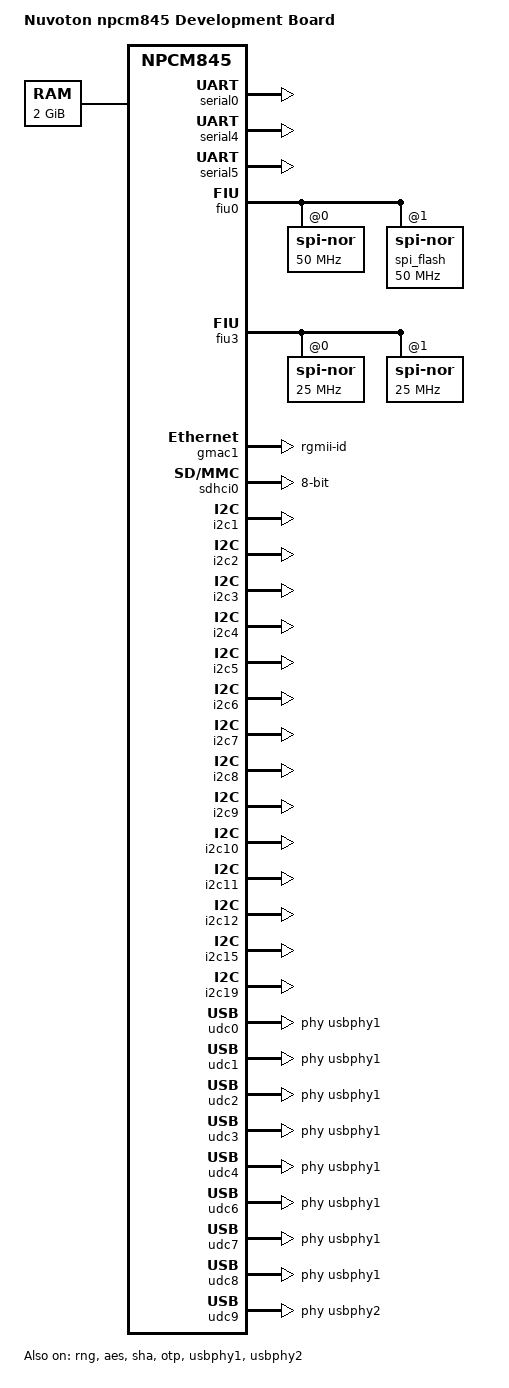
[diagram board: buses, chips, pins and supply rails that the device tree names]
// SPDX-License-Identifier: GPL-2.0
/dts-v1/;

/* TCG2 Logs */
/memreserve/ 0x35F00000 0x00010000;

#include "nuvoton-npcm845.dtsi"
#include "nuvoton-npcm845-scm-pincfg.dtsi"

/ {
	model = "Nuvoton npcm845 Development Board";
	compatible = "nuvoton,npcm845";

	aliases {
		serial0 = &serial0;
		serial1 = &serial4;
		serial2 = &serial5;
		ethernet0 = &gmac1;
		spi0 = &fiu0;
		spi3 = &fiu3;
		usb0 = &udc0;
		i2c1 = &i2c1;
		i2c2 = &i2c2;
		i2c3 = &i2c3;
		i2c4 = &i2c4;
		i2c5 = &i2c5;
		i2c6 = &i2c6;
		i2c7 = &i2c7;
		i2c8 = &i2c8;
		i2c9 = &i2c9;
		i2c10 = &i2c10;
		i2c11 = &i2c11;
		i2c12 = &i2c12;
		i2c15 = &i2c15;
		i2c19 = &i2c19;

	};

	chosen {
		stdout-path = &serial0;
	};

	memory {
		reg = <0x0 0x0 0x0 0x80000000>;
	};

	vsbv8: vsbv8 {
		compatible = "regulator-npcm845";
		regulator-name = "v8";
		regulator-min-microvolt = <1800000>;
		regulator-max-microvolt = <3300000>;
		regulator-always-on;
	};

	tpm@0 {
		compatible = "microsoft,ftpm";
	};

	firmware {
		optee {
			 compatible = "linaro,optee-tz";
			 method = "smc";
		};
	};
};

&serial0 {
	status = "okay";
	assigned-clocks = <&clk NPCM8XX_CLK_UART>,
			  <&clk NPCM8XX_CLK_UART2>;
	assigned-clock-parents = <&clk NPCM8XX_CLK_PLL2DIV2>;
	assigned-clock-rates = <24000000>, <24000000>;
};

&serial4 {
	status = "okay";
	clock-frequency = <24000000>;
};

&serial5 {
	status = "okay";
	clock-frequency = <24000000>;
};

&fiu0 {
	status = "okay";
	pinctrl-names = "default";
	pinctrl-0 = <&spi0cs1_pins>;
	spi-nor@0 {
		compatible = "jedec,spi-nor";
		reg = <0>;
		spi-max-frequency = <50000000>;
	};
	spi_flash@1 {
		compatible = "jedec,spi-nor";
		reg = <1>;
		spi-max-frequency = <50000000>;
	};
};

&fiu3 {
	pinctrl-0 = <&spi3_pins>, <&spi3quad_pins>, <&spi3cs1_pins>;
	status = "okay";
	spi-nor@0 {
		compatible = "jedec,spi-nor";
		reg = <0>;
		spi-max-frequency = <25000000>;
	};
	spi-nor@1 {
		compatible = "jedec,spi-nor";
		reg = <1>;
		spi-max-frequency = <25000000>;
	};
};

&gmac1 {
	phy-mode = "rgmii-id";
	status = "okay";
};

&sdhci0 {
	index = <0x0>;
	bus-width = <0x8>;
	clocks = <&clk NPCM8XX_CLK_SDHC>;
	clock-frequency = <50000000>;
	vqmmc-supply = <&vsbv8>;
	vqmmc-microvolt = <1800000>;
	status = "okay";
};

&rng {
	status = "okay";
};

&aes {
	status = "okay";
};

&sha {
	status = "okay";
};

&otp {
	status = "okay";
};

&i2c1 {
	status = "okay";
};

&i2c2 {
	status = "okay";
};

&i2c3 {
	status = "okay";
};

&i2c4 {
	status = "okay";
};

&i2c5 {
	status = "okay";
};

&i2c6 {
	status = "okay";
};

&i2c7 {
	status = "okay";
};

&i2c8 {
	status = "okay";
};

&i2c9 {
	status = "okay";
};

&i2c10 {
	status = "okay";
};

&i2c11 {
	status = "okay";
};

&i2c12 {
	status = "okay";
};

&i2c15 {
	status = "okay";
};

&i2c19 {
	status = "okay";
};

&usbphy1 {
	status = "okay";
};

&usbphy2 {
	status = "okay";
};

&udc0 {
	status = "okay";
	phys = <&usbphy1 0>;
};

&udc1 {
	status = "okay";
	phys = <&usbphy1 0>;
};

&udc2 {
	status = "okay";
	phys = <&usbphy1 0>;
};

&udc3 {
	status = "okay";
	phys = <&usbphy1 0>;
};

&udc4 {
	status = "okay";
	phys = <&usbphy1 0>;
};

&udc6 {
	status = "okay";
	phys = <&usbphy1 0>;
};

&udc7 {
	status = "okay";
	phys = <&usbphy1 0>;
};

&udc8 {
	status = "okay";
	phys = <&usbphy1 0>;
};

&udc9 {
	status = "okay";
	phys = <&usbphy2 2>;
};

&host_intf {
	type = "espi";
	ioaddr = <0x2e>;
	channel-support = <0xf>;
};

&pinctrl {
        pinctrl-names = "default";
        pinctrl-0 = <
			&fm0cso_slew
			&fm0_pins
			&bu4_pins
			&bu5_pins
			&gspi_pins
			&vgadig_pins
			&gpio8oh_pins
			&gpio9ol_pins
			&gpio16i_pins
			&gpio22oh_pins
			&gpio23i_pins
			&gpi35_pins
			&gpi36_pins
			&gpio39i_pins
			&gpio40ol_pins
			&gpio43oh_pins
			&gpio44ol_pins
			&gpio45ol_pins
			&gpio46oh_pins
			&gpio58oh_pins
			&gpio61i_pins
			&gpio62oh_pins
			&gpio63oh_pins
			&gpio64i_pins
			&gpio65i_pins
			&gpio66i_pins
			&gpio67i_pins
			&gpio68i_pins
			&gpio69i_pins
			&gpio71oh_pins
			&gpio72i_pins
			&gpio73oh_pins
			&gpio74i_pins
			&gpio75i_pins
			&gpio76ol_pins
			&gpio77i_pins
			&gpio78oh_pins
			&gpio79oh_pins
			&gpio80oh_pins
			&gpio81oh_pins
			&gpio82oh_pins
			&gpio83oh_pins
			&gpio84i_pins
			&gpio85i_pins
			&gpio86oh_pins
			&gpio87i_pins
			&gpio88i_pins
			&gpio90i_pins
			&gpio93oh_pins
			&gpio94ol_pins
			&gpio96i_pins
			&gpio97i_pins
			&gpio99i_pins
			&gpio100i_pins
			&gpio101i_pins
			&gpio114oh_pins
			&gpio115ol_pins
			&gpio120i_pins
			&gpio121ol_pins
			&gpio122oh_pins
			&gpio123i_pins
			&gpio124oh_pins
			&gpio125ol_pins
			&gpio126i_pins
			&gpio127i_pins
			&gpio141ol_pins
			&gpio144ol_pins
			&gpio146i_pins
			&gpio147i_pins
			&gpio153i_pins
			&gpio155oh_pins
			&gpio160oh_pins
			&gpio162i_pins
			&gpio169ol_pins
			&gpio170i_pins
			&gpio183i_pins
			&gpio184i_pins
			&gpio185i_pins
			&gpio186i_pins
			&gpio187od_pins
			&gpio188i_pins
			&gpio189i_pins
			&gpio190oh_pins
			&gpio200i_pins
			&gpio218ol_pins
			&gpio219oh_pins
			&gpio222oh_pins
			&gpio223oh_pins
			&gpio231i_pins
			&gpio233i_pins
			&gpio234i_pins
			&gpio235oh_pins
        >;
};
